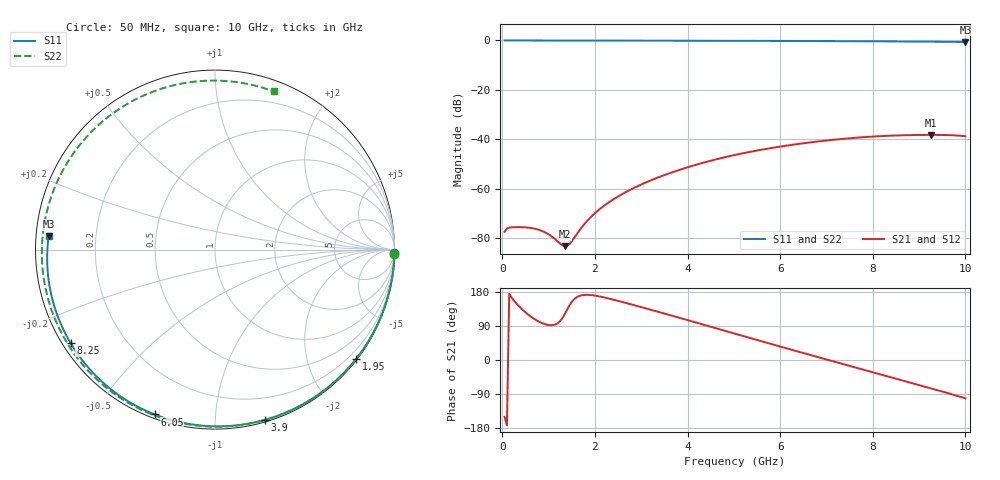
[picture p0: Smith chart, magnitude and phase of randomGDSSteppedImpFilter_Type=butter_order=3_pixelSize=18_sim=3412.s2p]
! freq	dB(S11)	phase(S11)	dB(S12)	phase(S12)
!  dB(S21)	phase(S21)	dB(S22)	phase(S22)
!S-par simulation data
#  GHz  S  DB  R 50
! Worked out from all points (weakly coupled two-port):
!   200 points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, 50 MHz to 10 GHz, reference 50 ohm
!   highest |S21| = -38.21 dB at 9.25 GHz (marker M1); lowest = -83.2 dB at 1.35 GHz (marker M2)
!   lowest |S11| = -0.6 dB at 10 GHz (marker M3), VSWR 27.52, Z = 1.82 + j1.99 ohm
!   |S11| at or under -10 dB: nowhere
!   |S22| runs from -0.5 to 0.0 dB; largest |S21 - S12| = 0
!   S11 on the Smith chart (normalised r, x): 50 MHz: open; 1.95 GHz: 0.03, -2.91; 3.9 GHz: 0.02, -1.34; 6.05 GHz: 0.02, -0.70; 8.25 GHz: 0.02, -0.30; 10 GHz: 0.04, +0.04
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0.05  -0.00 -1.0  -77.43 -149.9  -77.43 -149.9  -0.00 -1.5
0.1  -0.00 -2.0  -76.08 -172.5  -76.08 -172.5  -0.00 -3.1
0.15  -0.00 -3.0  -75.76 174.7  -75.76 174.7  -0.00 -4.6
0.55  -0.01 -10.9  -75.72 120.6  -75.72 120.6  -0.01 -16.9
0.85  -0.02 -16.7  -77.05 97.8  -77.05 97.8  -0.03 -26.1
1.1  -0.03 -21.6  -79.79 92.3  -79.79 92.3  -0.04 -33.6
1.35  -0.03 -26.4  -83.25 121.4  -83.25 121.4  -0.05 -41.1
1.55  -0.04 -30.3  -79.97 160.3  -79.97 160.3  -0.06 -47.0
1.75  -0.04 -34.1  -74.84 171.5  -74.84 171.5  -0.07 -52.9
1.95  -0.05 -37.9  -70.78 170.8  -70.78 170.8  -0.07 -58.7
2.55  -0.06 -49.1  -62.58 154.5  -62.58 154.5  -0.10 -75.8
3.4  -0.08 -64.6  -55.19 126.0  -55.19 126.0  -0.13 -99.1
3.9  -0.10 -73.5  -51.92 108.8  -51.92 108.8  -0.15 -112.4
5.05  -0.14 -93.4  -46.23 68.5  -46.23 68.5  -0.21 -142.5
6.05  -0.19 -110.1  -42.81 33.8  -42.81 33.8  -0.28 -168.8
6.7  -0.23 -120.9  -41.14 11.6  -41.14 11.6  -0.33 173.6
7.45  -0.29 -133.3  -39.66 -13.9  -39.66 -13.9  -0.39 152.3
8.25  -0.37 -147.1  -38.64 -41.1  -38.64 -41.1  -0.45 128.1
8.35  -0.38 -148.8  -38.56 -44.5  -38.56 -44.5  -0.46 125.0
8.8  -0.43 -157.1  -38.30 -59.7  -38.30 -59.7  -0.49 110.5
9.25  -0.49 -166.0  -38.21 -74.7  -38.21 -74.7  -0.51 95.5
10  -0.63 175.4  -38.77 -101.1  -38.77 -101.1  -0.54 69.7
